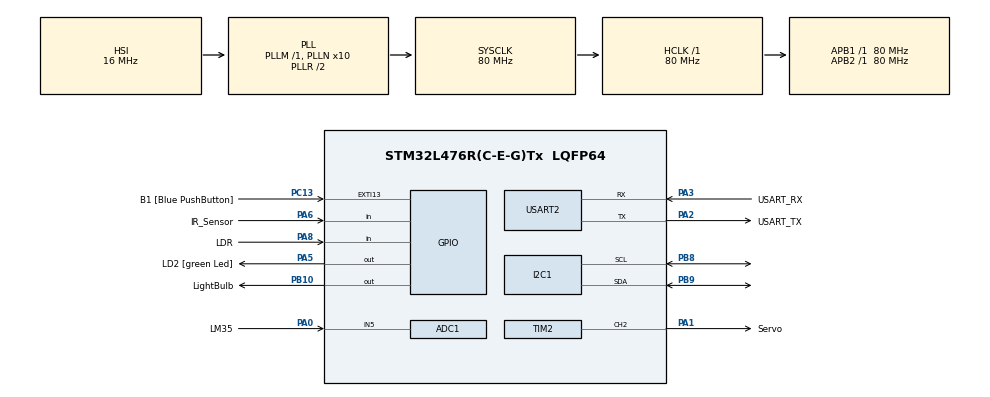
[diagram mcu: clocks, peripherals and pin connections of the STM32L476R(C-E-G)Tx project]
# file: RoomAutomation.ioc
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ADC1.Channel-0\#ChannelRegularConversion=ADC_CHANNEL_5
ADC1.NbrOfConversionFlag=1
ADC1.OffsetNumber-0\#ChannelRegularConversion=ADC_OFFSET_NONE
ADC1.Rank-0\#ChannelRegularConversion=1
ADC1.SamplingTime-0\#ChannelRegularConversion=ADC_SAMPLETIME_2CYCLES_5
ADC1.master=1
I2C1.Timing=0x10D19CE4
Mcu.Family=STM32L4
Mcu.Name=STM32L476R(C-E-G)Tx
Mcu.Package=LQFP64
NVIC.PriorityGroup=NVIC_PRIORITYGROUP_4
PA0.GPIO_Label=LM35
PA0.Signal=ADCx_IN5
PA1.GPIO_Label=Servo
PA1.Signal=S_TIM2_CH2
PA13\ (JTMS-SWDIO).GPIO_Label=TMS
PA13\ (JTMS-SWDIO).Mode=Serial_Wire
PA13\ (JTMS-SWDIO).Signal=SYS_JTMS-SWDIO
PA14\ (JTCK-SWCLK).GPIO_Label=TCK
PA14\ (JTCK-SWCLK).Mode=Serial_Wire
PA14\ (JTCK-SWCLK).Signal=SYS_JTCK-SWCLK
PA2.GPIO_Label=USART_TX
PA2.GPIO_Mode=GPIO_MODE_AF_PP
PA2.GPIO_PuPd=GPIO_NOPULL
PA2.GPIO_Speed=GPIO_SPEED_FREQ_VERY_HIGH
PA2.Mode=Asynchronous
PA2.Signal=USART2_TX
PA3.GPIO_Label=USART_RX
PA3.GPIO_Mode=GPIO_MODE_AF_PP
PA3.GPIO_PuPd=GPIO_NOPULL
PA3.GPIO_Speed=GPIO_SPEED_FREQ_VERY_HIGH
PA3.Mode=Asynchronous
PA3.Signal=USART2_RX
PA5.GPIO_Label=LD2 [green Led]
PA5.GPIO_ModeDefaultOutputPP=GPIO_MODE_OUTPUT_PP
PA5.GPIO_PuPd=GPIO_NOPULL
PA5.GPIO_Speed=GPIO_SPEED_FREQ_LOW
PA5.Signal=GPIO_Output
PA6.GPIO_Label=IR_Sensor
PA6.Signal=GPIO_Input
PA8.GPIO_Label=LDR
PA8.Signal=GPIO_Input
PB10.GPIO_Label=LightBulb
PB10.Signal=GPIO_Output
PB3\ (JTDO-TRACESWO).GPIO_Label=SWO
PB3\ (JTDO-TRACESWO).Signal=SYS_JTDO-SWO
PB8.Mode=I2C
PB8.Signal=I2C1_SCL
PB9.Mode=I2C
PB9.Signal=I2C1_SDA
PC13.GPIO_Label=B1 [Blue PushButton]
PC13.GPIO_ModeDefaultEXTI=GPIO_MODE_IT_FALLING
PC13.GPIO_PuPd=GPIO_NOPULL
PC13.Signal=GPXTI13
PC14-OSC32_IN\ (PC14).Mode=LSE-External-Oscillator
PC14-OSC32_IN\ (PC14).Signal=RCC_OSC32_IN
PC15-OSC32_OUT\ (PC15).Mode=LSE-External-Oscillator
PC15-OSC32_OUT\ (PC15).Signal=RCC_OSC32_OUT
PH0-OSC_IN\ (PH0).Signal=RCC_OSC_IN
PH1-OSC_OUT\ (PH1).Signal=RCC_OSC_OUT
ProjectManager.HeapSize=0x200
ProjectManager.StackSize=0x400
ProjectManager.TargetToolchain=STM32CubeIDE
RCC.ADCFreq_Value=64000000
RCC.AHBFreq_Value=80000000
RCC.APB1Freq_Value=80000000
RCC.APB1TimFreq_Value=80000000
RCC.APB2Freq_Value=80000000
RCC.APB2TimFreq_Value=80000000
RCC.CortexFreq_Value=80000000
RCC.HCLKFreq_Value=80000000
RCC.HSE_VALUE=8000000
RCC.HSI_VALUE=16000000
RCC.MSI_VALUE=4000000
RCC.PLLN=10
RCC.PLLSourceVirtual=RCC_PLLSOURCE_HSI
RCC.PREFETCH_ENABLE=1
RCC.SYSCLKFreq_VALUE=80000000
RCC.SYSCLKSource=RCC_SYSCLKSOURCE_PLLCLK
RCC.USBFreq_Value=64000000
RCC.VCOOutputFreq_Value=160000000
SH.ADCx_IN5.0=ADC1_IN5,IN5-Single-Ended
SH.S_TIM2_CH2.0=TIM2_CH2,PWM Generation2 CH2
TIM2.Channel-PWM\ Generation2\ CH2=TIM_CHANNEL_2
TIM2.Period=10000-1
TIM2.Prescaler=160-1
USART2.VirtualMode-Asynchronous=VM_ASYNC
board=NUCLEO-L476RG

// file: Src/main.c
/* USER CODE BEGIN Header */
/**
  ******************************************************************************
  * @file           : main.c
  * @brief          : Main program body
  ******************************************************************************
  * @attention
  *
  * Copyright (c) 2025 STMicroelectronics.
  * All rights reserved.
  *
  * This software is licensed under terms that can be found in the LICENSE file
  * in the root directory of this software component.
  * If no LICENSE file comes with this software, it is provided AS-IS.
  *
  ******************************************************************************
  */
/* USER CODE END Header */
#include "main.h"

/* USER CODE BEGIN Includes */
#include "stdio.h"
#include "liquidcrystal_i2c.h"
/* USER CODE END Includes */

ADC_HandleTypeDef hadc1;

I2C_HandleTypeDef hi2c1;

TIM_HandleTypeDef htim2;

UART_HandleTypeDef huart2;

/* USER CODE BEGIN PV */
uint32_t previousTime = 0;  // for non-blocking delay in main loop
uint32_t ledPreviousTime = 0; // for LED control delay
uint32_t servoPreviousTime = 0; // for Servo control delay
/* USER CODE END PV */

void SystemClock_Config(void);
static void MX_GPIO_Init(void);
static void MX_USART2_UART_Init(void);
static void MX_TIM2_Init(void);
static void MX_I2C1_Init(void);
static void MX_ADC1_Init(void);
/* USER CODE BEGIN PFP */
int angle(int val);
void door();
void light();
void temp();
/* USER CODE END PFP */

int main(void)
{

  /* MCU Configuration--------------------------------------------------------*/

  /* Reset of all peripherals, Initializes the Flash interface and the Systick. */
  HAL_Init();

  /* Configure the system clock */
  SystemClock_Config();

  /* Initialize all configured peripherals */
  MX_GPIO_Init();
  MX_USART2_UART_Init();
  MX_TIM2_Init();
  MX_I2C1_Init();
  MX_ADC1_Init();
  /* USER CODE BEGIN 2 */
  HAL_TIM_PWM_Start(&htim2, TIM_CHANNEL_2);

  LCD_Init(2);
  LCD_NoCursor();
  /* USER CODE END 2 */

  /* Infinite loop */
  while (1)
  {

    /* USER CODE BEGIN 3 */
	  temp();
	  light();
	  door();
  }
  /* USER CODE END 3 */
}

void SystemClock_Config(void)
{
  RCC_OscInitTypeDef RCC_OscInitStruct = {0};
  RCC_ClkInitTypeDef RCC_ClkInitStruct = {0};

  /** Configure the main internal regulator output voltage
  */
  if (HAL_PWREx_ControlVoltageScaling(PWR_REGULATOR_VOLTAGE_SCALE1) != HAL_OK)
  {
    Error_Handler();
  }

  /** Initializes the RCC Oscillators according to the specified parameters
  * in the RCC_OscInitTypeDef structure.
  */
  RCC_OscInitStruct.OscillatorType = RCC_OSCILLATORTYPE_HSI;
  RCC_OscInitStruct.HSIState = RCC_HSI_ON;
  RCC_OscInitStruct.HSICalibrationValue = RCC_HSICALIBRATION_DEFAULT;
  RCC_OscInitStruct.PLL.PLLState = RCC_PLL_ON;
  RCC_OscInitStruct.PLL.PLLSource = RCC_PLLSOURCE_HSI;
  RCC_OscInitStruct.PLL.PLLM = 1;
  RCC_OscInitStruct.PLL.PLLN = 10;
  RCC_OscInitStruct.PLL.PLLP = RCC_PLLP_DIV7;
  RCC_OscInitStruct.PLL.PLLQ = RCC_PLLQ_DIV2;
  RCC_OscInitStruct.PLL.PLLR = RCC_PLLR_DIV2;
  if (HAL_RCC_OscConfig(&RCC_OscInitStruct) != HAL_OK)
  {
    Error_Handler();
  }

  /** Initializes the CPU, AHB and APB buses clocks
  */
  RCC_ClkInitStruct.ClockType = RCC_CLOCKTYPE_HCLK|RCC_CLOCKTYPE_SYSCLK
                              |RCC_CLOCKTYPE_PCLK1|RCC_CLOCKTYPE_PCLK2;
  RCC_ClkInitStruct.SYSCLKSource = RCC_SYSCLKSOURCE_PLLCLK;
  RCC_ClkInitStruct.AHBCLKDivider = RCC_SYSCLK_DIV1;
  RCC_ClkInitStruct.APB1CLKDivider = RCC_HCLK_DIV1;
  RCC_ClkInitStruct.APB2CLKDivider = RCC_HCLK_DIV1;

  if (HAL_RCC_ClockConfig(&RCC_ClkInitStruct, FLASH_LATENCY_4) != HAL_OK)
  {
    Error_Handler();
  }
}

static void MX_ADC1_Init(void)
{

  ADC_MultiModeTypeDef multimode = {0};
  ADC_ChannelConfTypeDef sConfig = {0};

  /** Common config
  */
  hadc1.Instance = ADC1;
  hadc1.Init.ClockPrescaler = ADC_CLOCK_ASYNC_DIV1;
  hadc1.Init.Resolution = ADC_RESOLUTION_12B;
  hadc1.Init.DataAlign = ADC_DATAALIGN_RIGHT;
  hadc1.Init.ScanConvMode = ADC_SCAN_DISABLE;
  hadc1.Init.EOCSelection = ADC_EOC_SINGLE_CONV;
  hadc1.Init.LowPowerAutoWait = DISABLE;
  hadc1.Init.ContinuousConvMode = DISABLE;
  hadc1.Init.NbrOfConversion = 1;
  hadc1.Init.DiscontinuousConvMode = DISABLE;
  hadc1.Init.ExternalTrigConv = ADC_SOFTWARE_START;
  hadc1.Init.ExternalTrigConvEdge = ADC_EXTERNALTRIGCONVEDGE_NONE;
  hadc1.Init.DMAContinuousRequests = DISABLE;
  hadc1.Init.Overrun = ADC_OVR_DATA_PRESERVED;
  hadc1.Init.OversamplingMode = DISABLE;
  if (HAL_ADC_Init(&hadc1) != HAL_OK)
  {
    Error_Handler();
  }

  /** Configure the ADC multi-mode
  */
  multimode.Mode = ADC_MODE_INDEPENDENT;
  if (HAL_ADCEx_MultiModeConfigChannel(&hadc1, &multimode) != HAL_OK)
  {
    Error_Handler();
  }

  /** Configure Regular Channel
  */
  sConfig.Channel = ADC_CHANNEL_5;
  sConfig.Rank = ADC_REGULAR_RANK_1;
  sConfig.SamplingTime = ADC_SAMPLETIME_2CYCLES_5;
  sConfig.SingleDiff = ADC_SINGLE_ENDED;
  sConfig.OffsetNumber = ADC_OFFSET_NONE;
  sConfig.Offset = 0;
  if (HAL_ADC_ConfigChannel(&hadc1, &sConfig) != HAL_OK)
  {
    Error_Handler();
  }

}

static void MX_I2C1_Init(void)
{

  hi2c1.Instance = I2C1;
  hi2c1.Init.Timing = 0x10D19CE4;
  hi2c1.Init.OwnAddress1 = 0;
  hi2c1.Init.AddressingMode = I2C_ADDRESSINGMODE_7BIT;
  hi2c1.Init.DualAddressMode = I2C_DUALADDRESS_DISABLE;
  hi2c1.Init.OwnAddress2 = 0;
  hi2c1.Init.OwnAddress2Masks = I2C_OA2_NOMASK;
  hi2c1.Init.GeneralCallMode = I2C_GENERALCALL_DISABLE;
  hi2c1.Init.NoStretchMode = I2C_NOSTRETCH_DISABLE;
  if (HAL_I2C_Init(&hi2c1) != HAL_OK)
  {
    Error_Handler();
  }

  /** Configure Analogue filter
  */
  if (HAL_I2CEx_ConfigAnalogFilter(&hi2c1, I2C_ANALOGFILTER_ENABLE) != HAL_OK)
  {
    Error_Handler();
  }

  /** Configure Digital filter
  */
  if (HAL_I2CEx_ConfigDigitalFilter(&hi2c1, 0) != HAL_OK)
  {
    Error_Handler();
  }

}

static void MX_TIM2_Init(void)
{

  TIM_MasterConfigTypeDef sMasterConfig = {0};
  TIM_OC_InitTypeDef sConfigOC = {0};

  htim2.Instance = TIM2;
  htim2.Init.Prescaler = 160-1;
  htim2.Init.CounterMode = TIM_COUNTERMODE_UP;
  htim2.Init.Period = 10000-1;
  htim2.Init.ClockDivision = TIM_CLOCKDIVISION_DIV1;
  htim2.Init.AutoReloadPreload = TIM_AUTORELOAD_PRELOAD_DISABLE;
  if (HAL_TIM_PWM_Init(&htim2) != HAL_OK)
  {
    Error_Handler();
  }
  sMasterConfig.MasterOutputTrigger = TIM_TRGO_RESET;
  sMasterConfig.MasterSlaveMode = TIM_MASTERSLAVEMODE_DISABLE;
  if (HAL_TIMEx_MasterConfigSynchronization(&htim2, &sMasterConfig) != HAL_OK)
  {
    Error_Handler();
  }
  sConfigOC.OCMode = TIM_OCMODE_PWM1;
  sConfigOC.Pulse = 0;
  sConfigOC.OCPolarity = TIM_OCPOLARITY_HIGH;
  sConfigOC.OCFastMode = TIM_OCFAST_DISABLE;
  if (HAL_TIM_PWM_ConfigChannel(&htim2, &sConfigOC, TIM_CHANNEL_2) != HAL_OK)
  {
    Error_Handler();
  }
  HAL_TIM_MspPostInit(&htim2);

}

static void MX_USART2_UART_Init(void)
{

  huart2.Instance = USART2;
  huart2.Init.BaudRate = 115200;
  huart2.Init.WordLength = UART_WORDLENGTH_8B;
  huart2.Init.StopBits = UART_STOPBITS_1;
  huart2.Init.Parity = UART_PARITY_NONE;
  huart2.Init.Mode = UART_MODE_TX_RX;
  huart2.Init.HwFlowCtl = UART_HWCONTROL_NONE;
  huart2.Init.OverSampling = UART_OVERSAMPLING_16;
  huart2.Init.OneBitSampling = UART_ONE_BIT_SAMPLE_DISABLE;
  huart2.AdvancedInit.AdvFeatureInit = UART_ADVFEATURE_NO_INIT;
  if (HAL_UART_Init(&huart2) != HAL_OK)
  {
    Error_Handler();
  }

}

static void MX_GPIO_Init(void)
{
  GPIO_InitTypeDef GPIO_InitStruct = {0};

  /* GPIO Ports Clock Enable */
  __HAL_RCC_GPIOC_CLK_ENABLE();
  __HAL_RCC_GPIOH_CLK_ENABLE();
  __HAL_RCC_GPIOA_CLK_ENABLE();
  __HAL_RCC_GPIOB_CLK_ENABLE();

  /*Configure GPIO pin Output Level */
  HAL_GPIO_WritePin(LD2_GPIO_Port, LD2_Pin, GPIO_PIN_RESET);

  /*Configure GPIO pin Output Level */
  HAL_GPIO_WritePin(LightBulb_GPIO_Port, LightBulb_Pin, GPIO_PIN_RESET);

  /*Configure GPIO pin : B1_Pin */
  GPIO_InitStruct.Pin = B1_Pin;
  GPIO_InitStruct.Mode = GPIO_MODE_IT_FALLING;
  GPIO_InitStruct.Pull = GPIO_NOPULL;
  HAL_GPIO_Init(B1_GPIO_Port, &GPIO_InitStruct);

  /*Configure GPIO pin : LD2_Pin */
  GPIO_InitStruct.Pin = LD2_Pin;
  GPIO_InitStruct.Mode = GPIO_MODE_OUTPUT_PP;
  GPIO_InitStruct.Pull = GPIO_NOPULL;
  GPIO_InitStruct.Speed = GPIO_SPEED_FREQ_LOW;
  HAL_GPIO_Init(LD2_GPIO_Port, &GPIO_InitStruct);

  /*Configure GPIO pins : IR_Sensor_Pin LDR_Pin */
  GPIO_InitStruct.Pin = IR_Sensor_Pin|LDR_Pin;
  GPIO_InitStruct.Mode = GPIO_MODE_INPUT;
  GPIO_InitStruct.Pull = GPIO_NOPULL;
  HAL_GPIO_Init(GPIOA, &GPIO_InitStruct);

  /*Configure GPIO pin : LightBulb_Pin */
  GPIO_InitStruct.Pin = LightBulb_Pin;
  GPIO_InitStruct.Mode = GPIO_MODE_OUTPUT_PP;
  GPIO_InitStruct.Pull = GPIO_NOPULL;
  GPIO_InitStruct.Speed = GPIO_SPEED_FREQ_LOW;
  HAL_GPIO_Init(LightBulb_GPIO_Port, &GPIO_InitStruct);

}

/* USER CODE BEGIN 4 */
int angle(int val){
	int per_deg = 5.55;  //pulse value for 1° Rotation
	int pulse = 250 + (val * per_deg);  // calculate pulse value, starting from 25
	return pulse;
}

void temp(){
	  // adc_value variable store the adc value,
	  // value variable store the temperature value
	  int adc_value, value;
	  // store the converted voltage value from analog value
	  float voltage;

	  int calibration_offset = 20;  // Calibrate the difference between measured temperature and actual temperature

	  int calibration_factor = 100; //10 mV per °C, the factor will be 100 (1V = 1000 mV)
    // start ADC convertion
	  HAL_ADC_Start(&hadc1);
	  HAL_ADC_PollForConversion(&hadc1, 100);
	  adc_value = HAL_ADC_GetValue(&hadc1);
	  HAL_ADC_Stop(&hadc1);

	  if (HAL_GetTick() - previousTime >= 3000) {
		  previousTime = HAL_GetTick();
		  voltage = (adc_value * 3.3) / 4096;
		  value = (voltage * calibration_factor) - calibration_offset;

		  char message[20];
		  sprintf(message, "Temp: %d C \n\r", value);

		  LCD_Clear();
		  LCD_SetCursor(0, 0);
		  LCD_Print(message);
	  }
}

void light(){
	  // Replace HAL_Delay(5000) with non-blocking delay
	  if ((HAL_GetTick() - ledPreviousTime >= 5000)||(!HAL_GPIO_ReadPin(GPIOA, GPIO_PIN_8))) {
		if (HAL_GetTick() - ledPreviousTime >= 5000) {
		ledPreviousTime = HAL_GetTick();
		// Check user button on GPIOA, GPIO_PIN_8
		HAL_GPIO_WritePin(GPIOA, GPIO_PIN_5, GPIO_PIN_RESET);
		HAL_GPIO_WritePin(GPIOB, GPIO_PIN_10, GPIO_PIN_SET);}}
	  else {
		HAL_GPIO_WritePin(GPIOA, GPIO_PIN_5, GPIO_PIN_SET);
		HAL_GPIO_WritePin(GPIOB, GPIO_PIN_10, GPIO_PIN_RESET);
	  }
}

void door(){
	  // Servo angle control with non-blocking delay
	  // Check if object is detected by the IR sensor (connected to GPIOA, GPIO_PIN_6)
	  if ((HAL_GPIO_ReadPin(GPIOA, GPIO_PIN_6))||(HAL_GetTick() - servoPreviousTime >= 5000)){
	      // If it's time to rotate the servo or the servo is already at 180 degrees
	      if (HAL_GetTick() - servoPreviousTime >= 5000) {
	          servoPreviousTime = HAL_GetTick();  // Reset the timer
	          __HAL_TIM_SET_COMPARE(&htim2, TIM_CHANNEL_2, angle(180));  // Set servo to 180 degrees
	      }
	  } else {
	      // No object detected, set the servo to 0 degrees immediately
	      __HAL_TIM_SET_COMPARE(&htim2, TIM_CHANNEL_2, angle(0));
	  }
}
/* USER CODE END 4 */

void Error_Handler(void)
{
  __disable_irq();
  while (1)
  {
  }
}
